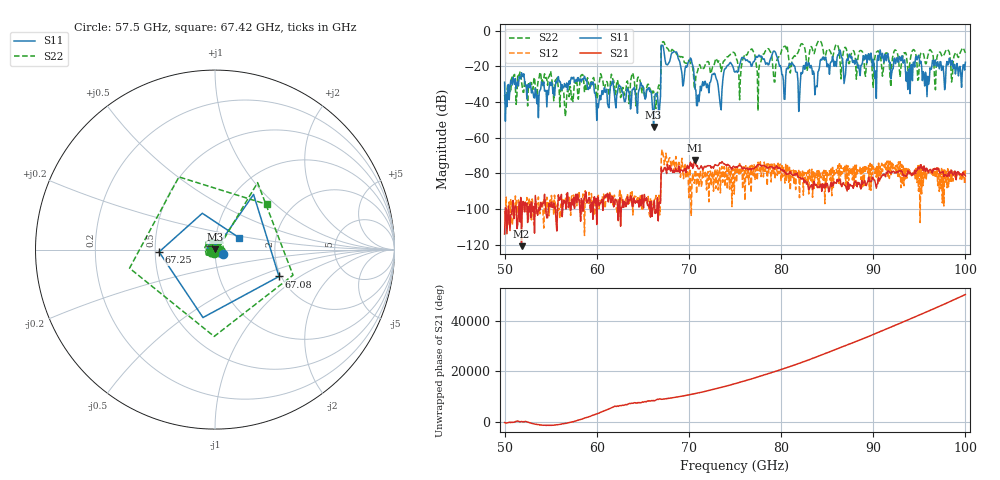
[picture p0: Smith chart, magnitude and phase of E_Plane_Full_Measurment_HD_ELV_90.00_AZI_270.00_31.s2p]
! 11/26/2026 3:31:01 PM
! C:\ANRITSUVNA\TEMP\TEMP.S2P
! CHANNEL.1
! TR.MEASUREMENT
! RAW.DATA
# HZ S RI R 50.0
! FREQ.HZ  S11RE  S11IM  S21RE  S21IM  S12RE  S12IM  S22RE  S22IM
!; PortSelection: Port_12
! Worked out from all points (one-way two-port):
!   601 points, 50 GHz to 100 GHz, reference 50 ohm
!   highest |S21| = -72.67 dB at 70.67 GHz (marker M1); lowest = -120.9 dB at 51.83 GHz (marker M2)
!   lowest |S11| = -54.1 dB at 66.17 GHz (marker M3), VSWR 1.00, Z = 50.1 + j0.142 ohm
!   |S11| at or under -10 dB: start of sweep to 67 GHz; 67.24 GHz to end of sweep
!   |S22| runs from -48.1 to -5.6 dB; largest |S21 - S12| = 0.00045
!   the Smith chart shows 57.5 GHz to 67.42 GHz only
!   S11 on the Smith chart (normalised r, x): 57.5 GHz: 1.09, -0.05; 67.08 GHz: 1.95, -0.69; 67.25 GHz: 0.52, -0.02; 67.42 GHz: 1.29, +0.18
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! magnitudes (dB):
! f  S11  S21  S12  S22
! 50 GHz  -29.0  -114.1  -101.1  -36.1
! 51.83 GHz  -23.7  -120.9  -98.3  -28.8
! 53.42 GHz  -34.9  -96.8  -102.6  -35.0
! 57.5 GHz  -26.2  -93.7  -92.3  -34.6
! 58.42 GHz  -27.1  -95.8  -98.8  -24.7
! 60.17 GHz  -43.3  -93.9  -92.4  -30.4
! 66.17 GHz  -54.1  -98.6  -98.1  -34.0
! 66.67 GHz  -41.5  -106.7  -98.5  -31.6
! 67.08 GHz  -8.2  -79.2  -66.7  -6.8
! 67.25 GHz  -10.1  -78.3  -71.1  -6.2
! 67.42 GHz  -16.5  -76.8  -73.2  -8.3
! 70.17 GHz  -15.4  -73.8  -81.4  -18.5
! 70.67 GHz  -32.9  -72.7  -78.1  -33.0
! 73.42 GHz  -42.4  -74.2  -91.0  -19.7
! 75 GHz  -23.3  -76.9  -76.6  -13.0
! 79.25 GHz  -11.5  -77.7  -74.8  -28.8
! 80.25 GHz  -28.0  -79.0  -76.8  -9.3
! 83.42 GHz  -24.6  -89.1  -93.5  -10.8
! 91.67 GHz  -16.8  -78.8  -73.2  -15.2
! 94.83 GHz  -14.9  -76.9  -75.8  -27.9
! 95.83 GHz  -37.1  -77.4  -78.3  -16.5
! 100 GHz  -17.8  -81.5  -78.3  -12.6
